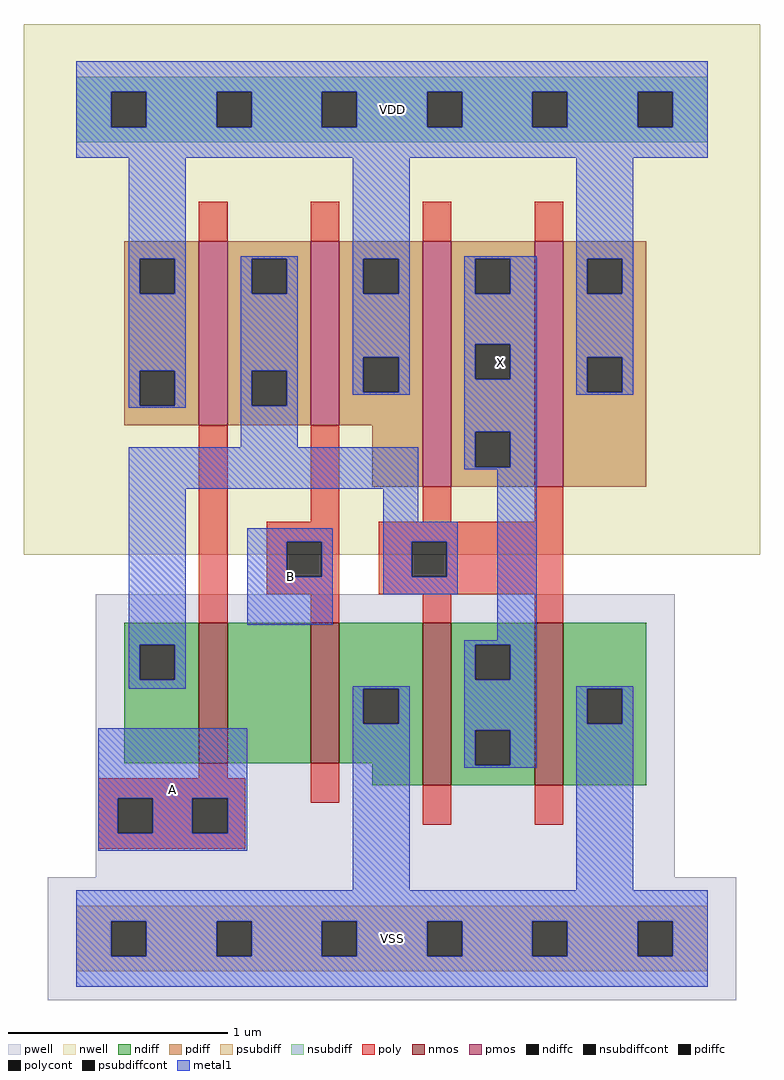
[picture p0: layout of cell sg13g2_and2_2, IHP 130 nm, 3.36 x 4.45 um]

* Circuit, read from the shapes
.subckt sg13g2_and2_2 X VSS VDD B A
XM1 n1 A n2 VSS sg13_lv_nmos w=0.64u l=0.13u
XM2 VSS B n1 VSS sg13_lv_nmos w=0.64u l=0.13u
XM3 X n2 VSS VSS sg13_lv_nmos w=0.74u l=0.13u m=2
XM4 n2 A VDD VDD sg13_lv_pmos w=0.84u l=0.13u
XM5 VDD B n2 VDD sg13_lv_pmos w=0.84u l=0.13u
XM6 X n2 VDD VDD sg13_lv_pmos w=1.12u l=0.13u m=2
.ends

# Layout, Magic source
magic
tech ihp-sg13g2
<< nwell >>
rect -24 175 312 417
<< pwell >>
rect 9 28 273 157
rect -13 -28 301 28
<< nmos >>
rect 56 80 69 144
rect 107 80 120 144
rect 158 70 171 144
rect 209 70 222 144
<< pmos >>
rect 56 234 69 318
rect 107 234 120 318
rect 158 206 171 318
rect 209 206 222 318
<< ndiff >>
rect 22 134 56 144
rect 22 118 29 134
rect 45 118 56 134
rect 22 80 56 118
rect 69 80 107 144
rect 120 114 158 144
rect 120 98 131 114
rect 147 98 158 114
rect 120 80 158 98
rect 135 70 158 80
rect 171 134 209 144
rect 171 118 182 134
rect 198 118 209 134
rect 171 95 209 118
rect 171 79 182 95
rect 198 79 209 95
rect 171 70 209 79
rect 222 114 260 144
rect 222 98 233 114
rect 249 98 260 114
rect 222 70 260 98
<< pdiff >>
rect 22 310 56 318
rect 22 294 29 310
rect 45 294 56 310
rect 22 259 56 294
rect 22 243 29 259
rect 45 243 56 259
rect 22 234 56 243
rect 69 310 107 318
rect 69 294 80 310
rect 96 294 107 310
rect 69 259 107 294
rect 69 243 80 259
rect 96 243 107 259
rect 69 234 107 243
rect 120 310 158 318
rect 120 294 131 310
rect 147 294 158 310
rect 120 265 158 294
rect 120 249 131 265
rect 147 249 158 265
rect 120 234 158 249
rect 135 206 158 234
rect 171 310 209 318
rect 171 294 182 310
rect 198 294 209 310
rect 171 271 209 294
rect 171 255 182 271
rect 198 255 209 271
rect 171 231 209 255
rect 171 215 182 231
rect 198 215 209 231
rect 171 206 209 215
rect 222 310 260 318
rect 222 294 233 310
rect 249 294 260 310
rect 222 265 260 294
rect 222 249 233 265
rect 249 249 260 265
rect 222 206 260 249
<< ndiffc >>
rect 29 118 45 134
rect 131 98 147 114
rect 182 118 198 134
rect 182 79 198 95
rect 233 98 249 114
<< pdiffc >>
rect 29 294 45 310
rect 29 243 45 259
rect 80 294 96 310
rect 80 243 96 259
rect 131 294 147 310
rect 131 249 147 265
rect 182 294 198 310
rect 182 255 198 271
rect 182 215 198 231
rect 233 294 249 310
rect 233 249 249 265
<< psubdiff >>
rect 0 8 288 15
rect 0 -8 16 8
rect 32 -8 64 8
rect 80 -8 112 8
rect 128 -8 160 8
rect 176 -8 208 8
rect 224 -8 256 8
rect 272 -8 288 8
rect 0 -15 288 -8
<< nsubdiff >>
rect 0 386 288 393
rect 0 370 16 386
rect 32 370 64 386
rect 80 370 112 386
rect 128 370 160 386
rect 176 370 208 386
rect 224 370 256 386
rect 272 370 288 386
rect 0 363 288 370
<< psubdiffcont >>
rect 16 -8 32 8
rect 64 -8 80 8
rect 112 -8 128 8
rect 160 -8 176 8
rect 208 -8 224 8
rect 256 -8 272 8
<< nsubdiffcont >>
rect 16 370 32 386
rect 64 370 80 386
rect 112 370 128 386
rect 160 370 176 386
rect 208 370 224 386
rect 256 370 272 386
<< poly >>
rect 56 318 69 336
rect 107 318 120 336
rect 158 318 171 336
rect 209 318 222 336
rect 56 144 69 234
rect 107 190 120 234
rect 158 190 171 206
rect 209 190 222 206
rect 87 181 120 190
rect 87 165 96 181
rect 112 165 120 181
rect 87 157 120 165
rect 138 181 222 190
rect 138 165 153 181
rect 169 165 222 181
rect 138 157 222 165
rect 107 144 120 157
rect 158 144 171 157
rect 209 144 222 157
rect 56 73 69 80
rect 10 64 77 73
rect 10 48 19 64
rect 35 48 53 64
rect 69 48 77 64
rect 107 62 120 80
rect 158 52 171 70
rect 209 52 222 70
rect 10 41 77 48
<< polycont >>
rect 96 165 112 181
rect 153 165 169 181
rect 19 48 35 64
rect 53 48 69 64
<< metal1 >>
rect 0 386 288 400
rect 0 370 16 386
rect 32 370 64 386
rect 80 370 112 386
rect 128 370 160 386
rect 176 370 208 386
rect 224 370 256 386
rect 272 370 288 386
rect 0 356 288 370
rect 24 310 50 356
rect 24 294 29 310
rect 45 294 50 310
rect 24 259 50 294
rect 24 243 29 259
rect 45 243 50 259
rect 24 242 50 243
rect 75 310 101 311
rect 75 294 80 310
rect 96 294 101 310
rect 75 259 101 294
rect 75 243 80 259
rect 96 243 101 259
rect 126 310 152 356
rect 126 294 131 310
rect 147 294 152 310
rect 126 265 152 294
rect 126 249 131 265
rect 147 249 152 265
rect 126 248 152 249
rect 177 310 210 311
rect 177 294 182 310
rect 198 294 210 310
rect 177 271 210 294
rect 177 255 182 271
rect 198 255 210 271
rect 75 224 101 243
rect 177 231 210 255
rect 228 310 254 356
rect 228 294 233 310
rect 249 294 254 310
rect 228 265 254 294
rect 228 249 233 265
rect 249 249 254 265
rect 228 248 254 249
rect 24 205 156 224
rect 177 215 182 231
rect 198 215 210 231
rect 177 214 210 215
rect 24 134 50 205
rect 140 190 156 205
rect 78 181 117 187
rect 78 165 96 181
rect 112 165 117 181
rect 78 143 117 165
rect 140 181 174 190
rect 140 165 153 181
rect 169 165 174 181
rect 140 157 174 165
rect 192 136 210 214
rect 24 118 29 134
rect 45 118 50 134
rect 24 114 50 118
rect 177 134 210 136
rect 177 118 182 134
rect 198 118 210 134
rect 126 114 152 115
rect 126 98 131 114
rect 147 98 152 114
rect 10 64 78 96
rect 10 48 19 64
rect 35 48 53 64
rect 69 48 78 64
rect 10 40 78 48
rect 126 22 152 98
rect 177 95 210 118
rect 177 79 182 95
rect 198 79 210 95
rect 177 78 210 79
rect 228 114 254 115
rect 228 98 233 114
rect 249 98 254 114
rect 228 22 254 98
rect 0 8 288 22
rect 0 -8 16 8
rect 32 -8 64 8
rect 80 -8 112 8
rect 128 -8 160 8
rect 176 -8 208 8
rect 224 -8 256 8
rect 272 -8 288 8
rect 0 -22 288 -8
<< labels >>
flabel metal1 s 177 214 210 311 0 FreeSans 200 0 0 0 X
port 2 nsew
flabel metal1 s 0 -22 288 22 0 FreeSans 200 0 0 0 VSS
port 3 nsew
flabel metal1 s 0 356 288 400 0 FreeSans 200 0 0 0 VDD
port 4 nsew
flabel metal1 s 78 143 117 187 0 FreeSans 200 0 0 0 B
port 5 nsew
flabel metal1 s 10 40 78 96 0 FreeSans 200 0 0 0 A
port 6 nsew
<< properties >>
string FIXED_BBOX 0 0 288 378
string GDS_END 236660
string GDS_FILE ../gds/controller.gds
string GDS_START 231950
<< end >>
